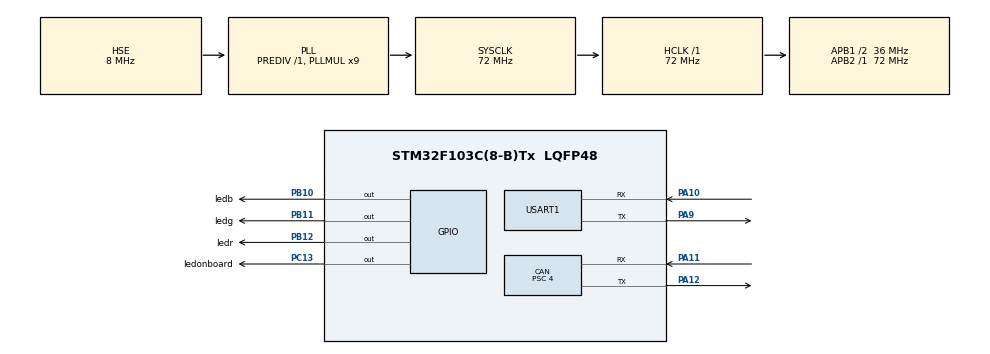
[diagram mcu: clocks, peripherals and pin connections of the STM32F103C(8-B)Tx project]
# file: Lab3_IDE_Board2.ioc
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CAN.BS1=CAN_BS1_13TQ
CAN.BS2=CAN_BS2_4TQ
CAN.CalculateBaudRate=500000
CAN.CalculateTimeBit=2000
CAN.CalculateTimeQuantum=111.11111111111111
CAN.Mode=CAN_MODE_LOOPBACK
CAN.Prescaler=4
CAN.SJW=CAN_SJW_2TQ
Mcu.Family=STM32F1
Mcu.Name=STM32F103C(8-B)Tx
Mcu.Package=LQFP48
NVIC.PriorityGroup=NVIC_PRIORITYGROUP_4
NVIC.TIM3_IRQn=true\:0\:0\:false\:false\:true\:true\:true\:true
NVIC.USB_LP_CAN1_RX0_IRQn=true\:0\:0\:false\:false\:true\:true\:true\:true
PA10.Mode=Asynchronous
PA10.Signal=USART1_RX
PA11.Mode=CAN_Activate
PA11.Signal=CAN_RX
PA12.Mode=CAN_Activate
PA12.Signal=CAN_TX
PA13.Mode=Serial_Wire
PA13.Signal=SYS_JTMS-SWDIO
PA14.Mode=Serial_Wire
PA14.Signal=SYS_JTCK-SWCLK
PA9.Mode=Asynchronous
PA9.Signal=USART1_TX
PB10.GPIO_Label=ledb
PB10.Signal=GPIO_Output
PB11.GPIO_Label=ledg
PB11.Signal=GPIO_Output
PB12.GPIO_Label=ledr
PB12.Signal=GPIO_Output
PC13-TAMPER-RTC.GPIO_Label=ledonboard
PC13-TAMPER-RTC.Signal=GPIO_Output
PD0-OSC_IN.Mode=HSE-External-Oscillator
PD0-OSC_IN.Signal=RCC_OSC_IN
PD1-OSC_OUT.Mode=HSE-External-Oscillator
PD1-OSC_OUT.Signal=RCC_OSC_OUT
ProjectManager.HeapSize=0x200
ProjectManager.StackSize=0x400
ProjectManager.TargetToolchain=STM32CubeIDE
RCC.AHBFreq_Value=72000000
RCC.APB1CLKDivider=RCC_HCLK_DIV2
RCC.APB1Freq_Value=36000000
RCC.APB1TimFreq_Value=72000000
RCC.APB2Freq_Value=72000000
RCC.APB2TimFreq_Value=72000000
RCC.HCLKFreq_Value=72000000
RCC.PLLMUL=RCC_PLL_MUL9
RCC.PLLSourceVirtual=RCC_PLLSOURCE_HSE
RCC.SYSCLKFreq_VALUE=72000000
RCC.SYSCLKSource=RCC_SYSCLKSOURCE_PLLCLK
RCC.USBFreq_Value=72000000
TIM3.AutoReloadPreload=TIM_AUTORELOAD_PRELOAD_ENABLE
TIM3.Period=19999
TIM3.Prescaler=7200 - 1
USART1.VirtualMode=VM_ASYNC
VP_TIM3_VS_ClockSourceINT.Mode=Internal
board=custom

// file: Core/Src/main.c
/* USER CODE BEGIN Header */
/**
  ******************************************************************************
  * @file           : main.c
  * @brief          : Main program body
  ******************************************************************************
  * @attention
  *
  * Copyright (c) 2023 STMicroelectronics.
  * All rights reserved.
  *
  * This software is licensed under terms that can be found in the LICENSE file
  * in the root directory of this software component.
  * If no LICENSE file comes with this software, it is provided AS-IS.
  *
  ******************************************************************************
  */
/* USER CODE END Header */
#include "main.h"

/* USER CODE BEGIN Includes */
#include <stdio.h>
/* USER CODE END Includes */

CAN_HandleTypeDef hcan;

TIM_HandleTypeDef htim3;

UART_HandleTypeDef huart1;

/* USER CODE BEGIN PV */
CAN_TxHeaderTypeDef TxHeader;
CAN_RxHeaderTypeDef RxHeader;
uint8_t TxData[8];
uint8_t RxData[8];
uint32_t TxMailbox;

uint8_t msgCnt = 0x00;
/* USER CODE END PV */

void SystemClock_Config(void);
static void MX_GPIO_Init(void);
static void MX_CAN_Init(void);
static void MX_TIM3_Init(void);
static void MX_USART1_UART_Init(void);

/* USER CODE BEGIN 0 */
#ifdef __GNUC__
#define PUTCHAR_PROTOTYPE int __io_putchar(int ch)
#else
#define PUTCHAR_PROTOTYPE int fputc(int ch, FILE *f)
#endif

PUTCHAR_PROTOTYPE
{
  HAL_UART_Transmit(&huart1, (uint8_t *)&ch, 1, HAL_MAX_DELAY);
  return ch;
}

void Can_Error_Tx(void)
{
  HAL_GPIO_WritePin(ledr_GPIO_Port, ledr_Pin, GPIO_PIN_SET);
  HAL_GPIO_WritePin(ledg_GPIO_Port, ledg_Pin, GPIO_PIN_RESET);
  HAL_GPIO_WritePin(ledb_GPIO_Port, ledb_Pin, GPIO_PIN_RESET);
}

void Can_Suceed_Tx(void)
{
  HAL_GPIO_WritePin(ledr_GPIO_Port, ledr_Pin, GPIO_PIN_RESET);
  HAL_GPIO_WritePin(ledg_GPIO_Port, ledg_Pin, GPIO_PIN_SET);
  HAL_GPIO_WritePin(ledb_GPIO_Port, ledb_Pin, GPIO_PIN_RESET);
}

uint8_t calc_SAE_J1850(uint8_t data[], int Crc_len)
{
  uint8_t crc, idx, idy, temp1, temp2;
  crc = 0;
  idx = 0;
  idy = 0;
  temp1 = 0;
  temp2 = 0;
  for (idx = 0; idx < Crc_len + 1; idx++)
  {
    if (idx == 0){
      temp1 = 0;
    }else{
      temp1 = data[Crc_len - idx];
    }
    crc = crc ^ temp1;
    for (idy = 8; idy > 0; idy--)
    {
      temp2 = crc;
      crc <<= 1;
      if (0 != (temp2 & 128))
      {
        crc = crc ^ 0x1D;
      }
    }
  }
  return crc;
}

void HAL_CAN_RxFifo0MsgPendingCallback(CAN_HandleTypeDef *hcan)
{
  if (HAL_CAN_GetRxMessage(hcan, CAN_RX_FIFO0, &RxHeader, RxData) != HAL_OK)
  {
    Error_Handler();
  }
  if (RxHeader.StdId == 0x012 && RxHeader.DLC == 8)
  {

    uint8_t checksum_rx_b2 = (uint8_t)calc_SAE_J1850(RxData, 7);
    if (RxData[7] == checksum_rx_b2)
    {
        HAL_GPIO_WritePin(ledb_GPIO_Port, ledb_Pin, GPIO_PIN_SET);
    }else{
        HAL_GPIO_WritePin(ledb_GPIO_Port, ledb_Pin, GPIO_PIN_RESET);
    }
  }
}

void HAL_TIM_PeriodElapsedCallback(TIM_HandleTypeDef *htim)
{
  UNUSED(htim);

  if(htim == &htim3)
  {

     TxData[6] = msgCnt;
     if (msgCnt == 0xFF)
     {
       msgCnt = 0x00;
     }
     else
     {
       msgCnt++;
     }
     if (HAL_CAN_AddTxMessage(&hcan, &TxHeader, TxData, &TxMailbox) != HAL_OK)
     {
       Can_Error_Tx();
       Error_Handler();
     }else{
       Can_Suceed_Tx();
     }
  }
}
/* USER CODE END 0 */

int main(void)
{
  /* USER CODE BEGIN 1 */
  for (uint8_t celTx = 0; celTx < 8; celTx++)
  {
	TxData[celTx] = 0;
  }
  TxData[0] = 1;
  TxData[1] = 2;
  /* USER CODE END 1 */

  /* MCU Configuration--------------------------------------------------------*/

  /* Reset of all peripherals, Initializes the Flash interface and the Systick. */
  HAL_Init();

  /* Configure the system clock */
  SystemClock_Config();

  /* Initialize all configured peripherals */
  MX_GPIO_Init();
  MX_CAN_Init();
  MX_TIM3_Init();
  MX_USART1_UART_Init();
  /* USER CODE BEGIN 2 */

  TxHeader.DLC = 8;
  TxHeader.StdId = 0x0A2;
  TxHeader.IDE = CAN_ID_STD;
  TxHeader.RTR = CAN_RTR_DATA;

  HAL_TIM_Base_Start_IT(&htim3);

  if (HAL_CAN_Start(&hcan) != HAL_OK)
  {
     Error_Handler();
  }
  if (HAL_CAN_ActivateNotification(&hcan, CAN_IT_RX_FIFO0_MSG_PENDING) != HAL_OK)
  {
    Error_Handler();
  }

  HAL_GPIO_WritePin(ledonboard_GPIO_Port, ledonboard_Pin, GPIO_PIN_SET);

  /* USER CODE END 2 */

  /* Infinite loop */
  while (1)
  {

  }
}

void SystemClock_Config(void)
{
  RCC_OscInitTypeDef RCC_OscInitStruct = {0};
  RCC_ClkInitTypeDef RCC_ClkInitStruct = {0};

  /** Initializes the RCC Oscillators according to the specified parameters
  * in the RCC_OscInitTypeDef structure.
  */
  RCC_OscInitStruct.OscillatorType = RCC_OSCILLATORTYPE_HSE;
  RCC_OscInitStruct.HSEState = RCC_HSE_ON;
  RCC_OscInitStruct.HSEPredivValue = RCC_HSE_PREDIV_DIV1;
  RCC_OscInitStruct.HSIState = RCC_HSI_ON;
  RCC_OscInitStruct.PLL.PLLState = RCC_PLL_ON;
  RCC_OscInitStruct.PLL.PLLSource = RCC_PLLSOURCE_HSE;
  RCC_OscInitStruct.PLL.PLLMUL = RCC_PLL_MUL9;
  if (HAL_RCC_OscConfig(&RCC_OscInitStruct) != HAL_OK)
  {
    Error_Handler();
  }

  /** Initializes the CPU, AHB and APB buses clocks
  */
  RCC_ClkInitStruct.ClockType = RCC_CLOCKTYPE_HCLK|RCC_CLOCKTYPE_SYSCLK
                              |RCC_CLOCKTYPE_PCLK1|RCC_CLOCKTYPE_PCLK2;
  RCC_ClkInitStruct.SYSCLKSource = RCC_SYSCLKSOURCE_PLLCLK;
  RCC_ClkInitStruct.AHBCLKDivider = RCC_SYSCLK_DIV1;
  RCC_ClkInitStruct.APB1CLKDivider = RCC_HCLK_DIV2;
  RCC_ClkInitStruct.APB2CLKDivider = RCC_HCLK_DIV1;

  if (HAL_RCC_ClockConfig(&RCC_ClkInitStruct, FLASH_LATENCY_2) != HAL_OK)
  {
    Error_Handler();
  }
}

static void MX_CAN_Init(void)
{

  hcan.Instance = CAN1;
  hcan.Init.Prescaler = 4;
  hcan.Init.Mode = CAN_MODE_LOOPBACK;
  hcan.Init.SyncJumpWidth = CAN_SJW_2TQ;
  hcan.Init.TimeSeg1 = CAN_BS1_13TQ;
  hcan.Init.TimeSeg2 = CAN_BS2_4TQ;
  hcan.Init.TimeTriggeredMode = DISABLE;
  hcan.Init.AutoBusOff = DISABLE;
  hcan.Init.AutoWakeUp = DISABLE;
  hcan.Init.AutoRetransmission = DISABLE;
  hcan.Init.ReceiveFifoLocked = DISABLE;
  hcan.Init.TransmitFifoPriority = DISABLE;
  if (HAL_CAN_Init(&hcan) != HAL_OK)
  {
    Error_Handler();
  }

}

static void MX_TIM3_Init(void)
{

  TIM_ClockConfigTypeDef sClockSourceConfig = {0};
  TIM_MasterConfigTypeDef sMasterConfig = {0};

  htim3.Instance = TIM3;
  htim3.Init.Prescaler = 7200 - 1;
  htim3.Init.CounterMode = TIM_COUNTERMODE_UP;
  htim3.Init.Period = 199;
  htim3.Init.ClockDivision = TIM_CLOCKDIVISION_DIV1;
  htim3.Init.AutoReloadPreload = TIM_AUTORELOAD_PRELOAD_ENABLE;
  if (HAL_TIM_Base_Init(&htim3) != HAL_OK)
  {
    Error_Handler();
  }
  sClockSourceConfig.ClockSource = TIM_CLOCKSOURCE_INTERNAL;
  if (HAL_TIM_ConfigClockSource(&htim3, &sClockSourceConfig) != HAL_OK)
  {
    Error_Handler();
  }
  sMasterConfig.MasterOutputTrigger = TIM_TRGO_RESET;
  sMasterConfig.MasterSlaveMode = TIM_MASTERSLAVEMODE_DISABLE;
  if (HAL_TIMEx_MasterConfigSynchronization(&htim3, &sMasterConfig) != HAL_OK)
  {
    Error_Handler();
  }

}

static void MX_USART1_UART_Init(void)
{

  huart1.Instance = USART1;
  huart1.Init.BaudRate = 115200;
  huart1.Init.WordLength = UART_WORDLENGTH_8B;
  huart1.Init.StopBits = UART_STOPBITS_1;
  huart1.Init.Parity = UART_PARITY_NONE;
  huart1.Init.Mode = UART_MODE_TX_RX;
  huart1.Init.HwFlowCtl = UART_HWCONTROL_NONE;
  huart1.Init.OverSampling = UART_OVERSAMPLING_16;
  if (HAL_UART_Init(&huart1) != HAL_OK)
  {
    Error_Handler();
  }

}

static void MX_GPIO_Init(void)
{
  GPIO_InitTypeDef GPIO_InitStruct = {0};

  /* GPIO Ports Clock Enable */
  __HAL_RCC_GPIOC_CLK_ENABLE();
  __HAL_RCC_GPIOD_CLK_ENABLE();
  __HAL_RCC_GPIOB_CLK_ENABLE();
  __HAL_RCC_GPIOA_CLK_ENABLE();

  /*Configure GPIO pin Output Level */
  HAL_GPIO_WritePin(ledonboard_GPIO_Port, ledonboard_Pin, GPIO_PIN_RESET);

  /*Configure GPIO pin Output Level */
  HAL_GPIO_WritePin(GPIOB, ledb_Pin|ledg_Pin|ledr_Pin, GPIO_PIN_RESET);

  /*Configure GPIO pin : ledonboard_Pin */
  GPIO_InitStruct.Pin = ledonboard_Pin;
  GPIO_InitStruct.Mode = GPIO_MODE_OUTPUT_PP;
  GPIO_InitStruct.Pull = GPIO_NOPULL;
  GPIO_InitStruct.Speed = GPIO_SPEED_FREQ_LOW;
  HAL_GPIO_Init(ledonboard_GPIO_Port, &GPIO_InitStruct);

  /*Configure GPIO pins : ledb_Pin ledg_Pin ledr_Pin */
  GPIO_InitStruct.Pin = ledb_Pin|ledg_Pin|ledr_Pin;
  GPIO_InitStruct.Mode = GPIO_MODE_OUTPUT_PP;
  GPIO_InitStruct.Pull = GPIO_NOPULL;
  GPIO_InitStruct.Speed = GPIO_SPEED_FREQ_LOW;
  HAL_GPIO_Init(GPIOB, &GPIO_InitStruct);

}

void Error_Handler(void)
{
  __disable_irq();
  while (1)
  {
  }
}
